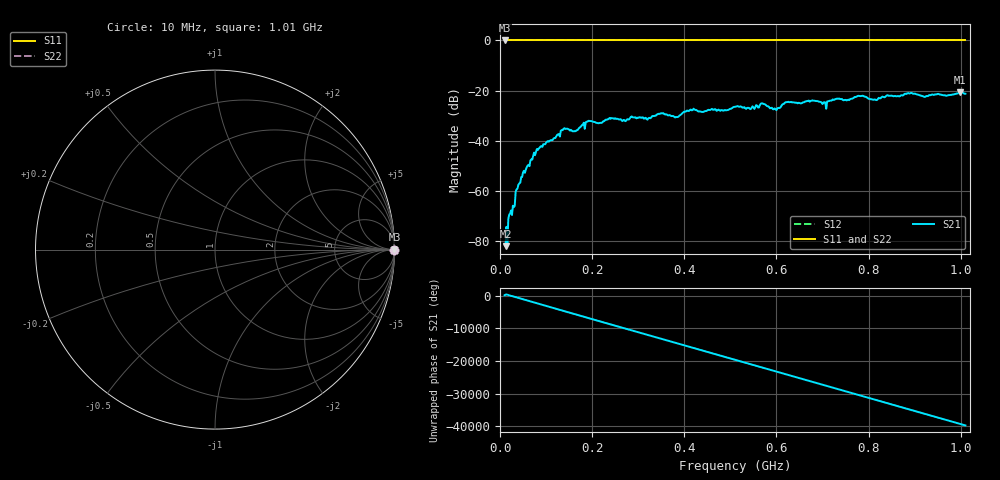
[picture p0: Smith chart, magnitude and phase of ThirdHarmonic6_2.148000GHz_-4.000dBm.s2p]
! 8/17/2025 1:38:56 AM
! C:\ANRITSUVNA\TEMP\TEMP.S2P
! CHANNEL.1
! TR.MEASUREMENT
! RAW.DATA
! RF.CORRECTION.OFF
! AVERAGING.OFF
! IF.BANDWIDTH: 5KHZ
! SWEEPTYPE:  FREQ.SWEEP(Linear)
! Reference Plane Port Info
! PORT:  PORT1  PORT2
! DISTANCE:  0  m  0  m
! TIME:  0  s  0  s
! PHASE.OFFSET:  0  deg.  0  deg.
! LOSS:  0  dB  0  dB
! REF.LOSS:  0  dB  0  dB
! REF.FREQ:  0  Hz  0  Hz
! Power Info
! POWER:  -20  dBm  -20  dBm
! EFF.POWER:  -20  dBm  -20  dBm
! SOURCE.ATTEN:  0  dB  0  dB
! TEST.ATTEN:  0  dB  0  dB
# GHZ S RI R 50.0
! FREQ.GHZ  S11RE  S11IM  S21RE  S21IM  S12RE  S12IM  S22RE  S22IM
!; PortSelection: Port_12
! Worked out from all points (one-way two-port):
!   501 points, 10 MHz to 1.01 GHz, reference 50 ohm
!   highest |S21| = -20.59 dB at 998 MHz (marker M1); lowest = -82.0 dB at 12 MHz (marker M2)
!   lowest |S11| = 0.0 dB at 10 MHz (marker M3)
!   |S11| at or under -10 dB: nowhere
!   |S22| runs from 0.0 to 0.0 dB; largest |S21 - S12| = 1.1
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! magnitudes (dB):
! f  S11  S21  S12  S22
! 10 MHz  0.0  -81.5  0.0  0.0
! 12 MHz  0.0  -82.0  0.0  0.0
! 22 MHz  0.0  -69.0  0.0  0.0
! 28 MHz  0.0  -65.8  0.0  0.0
! 38 MHz  0.0  -59.0  0.0  0.0
! 76 MHz  0.0  -45.7  0.0  0.0
! 136 MHz  0.0  -35.8  0.0  0.0
! 162 MHz  0.0  -36.1  0.0  0.0
! 178 MHz  0.0  -33.8  0.0  0.0
! 344 MHz  0.0  -29.2  0.0  0.0
! 382 MHz  0.0  -30.5  0.0  0.0
! 416 MHz  0.0  -27.8  0.0  0.0
! 510 MHz  0.0  -26.5  0.0  0.0
! 570 MHz  0.0  -25.1  0.0  0.0
! 596 MHz  0.0  -27.1  0.0  0.0
! 622 MHz  0.0  -24.6  0.0  0.0
! 678 MHz  0.0  -23.9  0.0  0.0
! 704 MHz  0.0  -24.6  0.0  0.0
! 732 MHz  0.0  -23.2  0.0  0.0
! 844 MHz  0.0  -22.1  0.0  0.0
! 998 MHz  0.0  -20.6  0.0  0.0
! 1.01 GHz  0.0  -21.2  0.0  0.0
